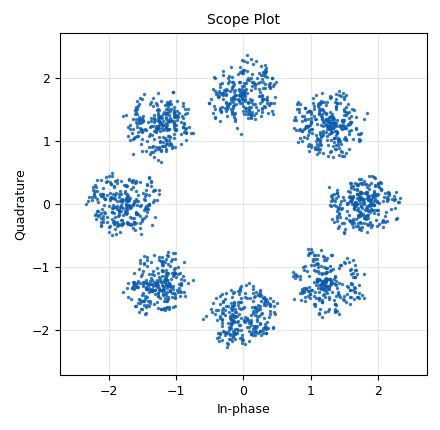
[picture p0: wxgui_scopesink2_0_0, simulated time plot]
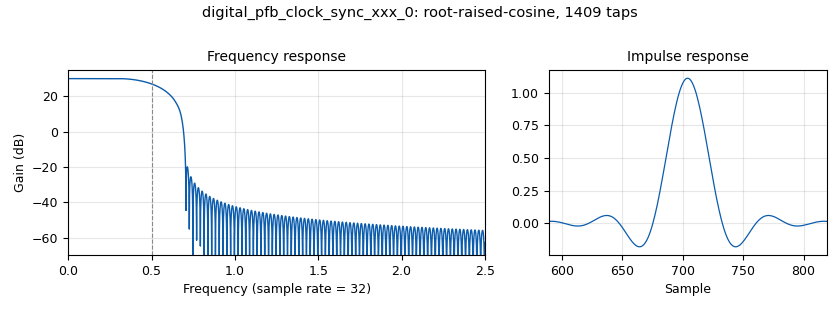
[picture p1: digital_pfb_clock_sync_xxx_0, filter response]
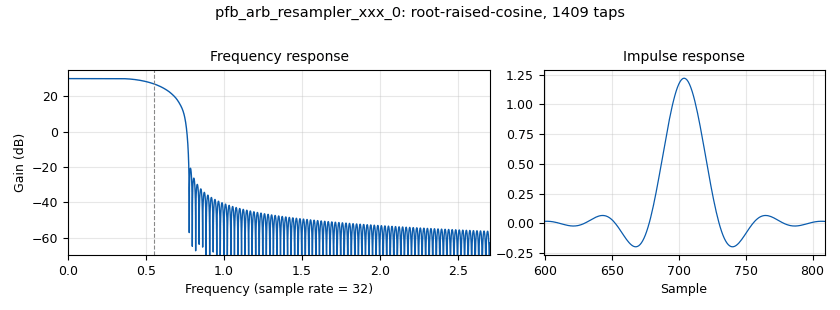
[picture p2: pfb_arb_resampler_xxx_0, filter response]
<?xml version='1.0' encoding='utf-8'?>
<?grc format='1' created='3.7.13'?>
<flow_graph>
<block>
<key>options</key>
<param><key>id</key><value>top_block</value></param>
<param><key>generate_options</key><value>wx_gui</value></param>
</block>
<block>
<key>variable_slider</key>
<param><key>id</key><value>b1</value></param>
<param><key>converver</key><value>float_converter</value></param>
<param><key>value</key><value>0</value></param>
<param><key>_enabled</key><value>0</value></param>
<param><key>label</key><value>b1</value></param>
<param><key>max</key><value>1</value></param>
<param><key>min</key><value>-1</value></param>
<param><key>num_steps</key><value>100</value></param>
<param><key>style</key><value>wx.SL_HORIZONTAL</value></param>
</block>
<block>
<key>variable_slider</key>
<param><key>id</key><value>b2</value></param>
<param><key>converver</key><value>float_converter</value></param>
<param><key>value</key><value>0</value></param>
<param><key>_enabled</key><value>0</value></param>
<param><key>label</key><value>b2</value></param>
<param><key>max</key><value>1</value></param>
<param><key>min</key><value>-1</value></param>
<param><key>num_steps</key><value>100</value></param>
<param><key>style</key><value>wx.SL_HORIZONTAL</value></param>
</block>
<block>
<key>variable_slider</key>
<param><key>id</key><value>b3</value></param>
<param><key>converver</key><value>float_converter</value></param>
<param><key>value</key><value>0</value></param>
<param><key>_enabled</key><value>0</value></param>
<param><key>label</key><value>b3</value></param>
<param><key>max</key><value>1</value></param>
<param><key>min</key><value>-1</value></param>
<param><key>num_steps</key><value>100</value></param>
<param><key>style</key><value>wx.SL_HORIZONTAL</value></param>
</block>
<block>
<key>variable_slider</key>
<param><key>id</key><value>b4</value></param>
<param><key>converver</key><value>float_converter</value></param>
<param><key>value</key><value>0</value></param>
<param><key>_enabled</key><value>0</value></param>
<param><key>label</key><value>b4</value></param>
<param><key>max</key><value>1</value></param>
<param><key>min</key><value>-1</value></param>
<param><key>num_steps</key><value>100</value></param>
<param><key>style</key><value>wx.SL_HORIZONTAL</value></param>
</block>
<block>
<key>variable</key>
<param><key>id</key><value>const_points</value></param>
<param><key>value</key><value>4</value></param>
</block>
<block>
<key>variable</key>
<param><key>id</key><value>excess_bw</value></param>
<param><key>value</key><value>0.4</value></param>
</block>
<block>
<key>variable</key>
<param><key>id</key><value>fll_ntaps</value></param>
<param><key>value</key><value>55</value></param>
</block>
<block>
<key>variable</key>
<param><key>id</key><value>freq_bw</value></param>
<param><key>value</key><value>2*pi/100</value></param>
</block>
<block>
<key>variable_slider</key>
<param><key>id</key><value>gain_control</value></param>
<param><key>converver</key><value>float_converter</value></param>
<param><key>value</key><value>0</value></param>
<param><key>label</key><value>gain_control</value></param>
<param><key>max</key><value>1</value></param>
<param><key>min</key><value>-1</value></param>
<param><key>num_steps</key><value>100</value></param>
<param><key>style</key><value>wx.SL_HORIZONTAL</value></param>
</block>
<block>
<key>variable</key>
<param><key>id</key><value>nfilts</value></param>
<param><key>value</key><value>32</value></param>
</block>
<block>
<key>variable</key>
<param><key>id</key><value>ntaps</value></param>
<param><key>value</key><value>11*nfilts*sps</value></param>
</block>
<block>
<key>variable</key>
<param><key>id</key><value>rx_taps</value></param>
<param><key>value</key><value>firdes.root_raised_cosine(nfilts, nfilts, 1.0, excess_bw, ntaps)</value></param>
</block>
<block>
<key>variable</key>
<param><key>id</key><value>samp_rate</value></param>
<param><key>value</key><value>32000</value></param>
</block>
<block>
<key>variable</key>
<param><key>id</key><value>samp_rate_0</value></param>
<param><key>value</key><value>20000*sps</value></param>
</block>
<block>
<key>variable</key>
<param><key>id</key><value>sps</value></param>
<param><key>value</key><value>4</value></param>
</block>
<block>
<key>variable</key>
<param><key>id</key><value>timing_bw</value></param>
<param><key>value</key><value>2*pi/100</value></param>
</block>
<block>
<key>variable</key>
<param><key>id</key><value>tx_taps</value></param>
<param><key>value</key><value>firdes.root_raised_cosine(nfilts, nfilts, 1.1, 0.4, ntaps)</value></param>
</block>
<block>
<key>analog_const_source_x</key>
<param><key>id</key><value>analog_const_source_x_0</value></param>
<param><key>const</key><value>1</value></param>
<param><key>_enabled</key><value>0</value></param>
<param><key>type</key><value>float</value></param>
</block>
<block>
<key>analog_noise_source_x</key>
<param><key>id</key><value>analog_noise_source_x_0</value></param>
<param><key>amp</key><value>0.05</value></param>
<param><key>noise_type</key><value>analog.GR_GAUSSIAN</value></param>
<param><key>type</key><value>complex</value></param>
<param><key>seed</key><value>0</value></param>
</block>
<block>
<key>analog_random_source_x</key>
<param><key>id</key><value>analog_random_source_x_0</value></param>
<param><key>max</key><value>8</value></param>
<param><key>min</key><value>0</value></param>
<param><key>num_samps</key><value>1000</value></param>
<param><key>type</key><value>byte</value></param>
<param><key>repeat</key><value>True</value></param>
</block>
<block>
<key>blocks_abs_xx</key>
<param><key>id</key><value>blocks_abs_xx_0</value></param>
<param><key>_enabled</key><value>0</value></param>
<param><key>type</key><value>float</value></param>
</block>
<block>
<key>blocks_add_xx</key>
<param><key>id</key><value>blocks_add_xx_0</value></param>
<param><key>type</key><value>complex</value></param>
</block>
<block>
<key>blocks_add_xx</key>
<param><key>id</key><value>blocks_add_xx_1</value></param>
<param><key>type</key><value>complex</value></param>
</block>
<block>
<key>blocks_complex_to_mag_squared</key>
<param><key>id</key><value>blocks_complex_to_mag_squared_0</value></param>
<param><key>_enabled</key><value>0</value></param>
</block>
<block>
<key>blocks_delay</key>
<param><key>id</key><value>blocks_delay_0</value></param>
<param><key>delay</key><value>1</value></param>
<param><key>type</key><value>complex</value></param>
</block>
<block>
<key>blocks_multiply_const_vxx</key>
<param><key>id</key><value>blocks_multiply_const_vxx_0</value></param>
<param><key>const</key><value>0.5</value></param>
<param><key>type</key><value>complex</value></param>
</block>
<block>
<key>blocks_sub_xx</key>
<param><key>id</key><value>blocks_sub_xx_0</value></param>
<param><key>_enabled</key><value>0</value></param>
<param><key>type</key><value>float</value></param>
</block>
<block>
<key>blocks_throttle</key>
<param><key>id</key><value>blocks_throttle_0</value></param>
<param><key>_enabled</key><value>0</value></param>
<param><key>samples_per_second</key><value>samp_rate</value></param>
<param><key>type</key><value>float</value></param>
</block>
<block>
<key>blocks_throttle</key>
<param><key>id</key><value>blocks_throttle_0_0</value></param>
<param><key>samples_per_second</key><value>samp_rate</value></param>
<param><key>type</key><value>complex</value></param>
</block>
<block>
<key>digital_chunks_to_symbols_xx</key>
<param><key>id</key><value>digital_chunks_to_symbols_xx_0</value></param>
<param><key>dimension</key><value>1</value></param>
<param><key>in_type</key><value>byte</value></param>
<param><key>out_type</key><value>complex</value></param>
<param><key>symbol_table</key><value>[1, (1+1j)/sqrt(2), 1j, (-1+1j)/sqrt(2), -1, (-1-1j)/sqrt(2), -1j, (1-1j)/sqrt(2)]</value></param>
</block>
<block>
<key>digital_cma_equalizer_cc</key>
<param><key>id</key><value>digital_cma_equalizer_cc_0</value></param>
<param><key>_enabled</key><value>2</value></param>
<param><key>mu</key><value>gain_control</value></param>
<param><key>modulus</key><value>1</value></param>
<param><key>num_taps</key><value>4</value></param>
<param><key>sps</key><value>4</value></param>
</block>
<block>
<key>digital_pfb_clock_sync_xxx</key>
<param><key>id</key><value>digital_pfb_clock_sync_xxx_0</value></param>
<param><key>filter_size</key><value>nfilts</value></param>
<param><key>init_phase</key><value>16</value></param>
<param><key>loop_bw</key><value>timing_bw</value></param>
<param><key>max_dev</key><value>1.5</value></param>
<param><key>osps</key><value>1</value></param>
<param><key>sps</key><value>sps</value></param>
<param><key>taps</key><value>rx_taps</value></param>
<param><key>type</key><value>ccf</value></param>
</block>
<block>
<key>iir_filter_xxx</key>
<param><key>id</key><value>iir_filter_xxx_1</value></param>
<param><key>_enabled</key><value>0</value></param>
<param><key>fftaps</key><value>(0.001)</value></param>
<param><key>fbtaps</key><value>(1, 0.98)</value></param>
<param><key>type</key><value>ffd</value></param>
</block>
<block>
<key>import</key>
<param><key>id</key><value>import_0</value></param>
<param><key>import</key><value>from math import pi</value></param>
</block>
<block>
<key>import</key>
<param><key>id</key><value>import_1</value></param>
<param><key>import</key><value>from gnuradio import digital</value></param>
</block>
<block>
<key>import</key>
<param><key>id</key><value>import_2</value></param>
<param><key>import</key><value>from gnuradio import filter</value></param>
</block>
<block>
<key>import</key>
<param><key>id</key><value>import_3</value></param>
<param><key>import</key><value>from math import sqrt</value></param>
</block>
<block>
<key>pfb_arb_resampler_xxx</key>
<param><key>id</key><value>pfb_arb_resampler_xxx_0</value></param>
<param><key>nfilts</key><value>32</value></param>
<param><key>rrate</key><value>sps</value></param>
<param><key>atten</key><value>100</value></param>
<param><key>taps</key><value>tx_taps</value></param>
<param><key>type</key><value>ccf</value></param>
</block>
<block>
<key>wxgui_scopesink2</key>
<param><key>id</key><value>wxgui_scopesink2_0</value></param>
<param><key>ac_couple</key><value>False</value></param>
<param><key>_enabled</key><value>0</value></param>
<param><key>num_inputs</key><value>1</value></param>
<param><key>samp_rate</key><value>samp_rate</value></param>
<param><key>t_scale</key><value>0</value></param>
<param><key>title</key><value>Scope Plot</value></param>
<param><key>trig_mode</key><value>wxgui.TRIG_MODE_AUTO</value></param>
<param><key>type</key><value>float</value></param>
<param><key>v_offset</key><value>0</value></param>
<param><key>v_scale</key><value>0</value></param>
<param><key>xy_mode</key><value>False</value></param>
<param><key>y_axis_label</key><value>Counts</value></param>
</block>
<block>
<key>wxgui_scopesink2</key>
<param><key>id</key><value>wxgui_scopesink2_0_0</value></param>
<param><key>ac_couple</key><value>False</value></param>
<param><key>num_inputs</key><value>1</value></param>
<param><key>samp_rate</key><value>samp_rate</value></param>
<param><key>t_scale</key><value>0</value></param>
<param><key>title</key><value>Scope Plot</value></param>
<param><key>trig_mode</key><value>wxgui.TRIG_MODE_AUTO</value></param>
<param><key>type</key><value>complex</value></param>
<param><key>v_offset</key><value>0</value></param>
<param><key>v_scale</key><value>0</value></param>
<param><key>xy_mode</key><value>True</value></param>
<param><key>y_axis_label</key><value>Counts</value></param>
</block>
<connection><source_block_id>analog_const_source_x_0</source_block_id><sink_block_id>blocks_sub_xx_0</sink_block_id><source_key>0</source_key><sink_key>1</sink_key></connection>
<connection><source_block_id>analog_noise_source_x_0</source_block_id><sink_block_id>blocks_add_xx_1</sink_block_id><source_key>0</source_key><sink_key>1</sink_key></connection>
<connection><source_block_id>analog_random_source_x_0</source_block_id><sink_block_id>digital_chunks_to_symbols_xx_0</sink_block_id><source_key>0</source_key><sink_key>0</sink_key></connection>
<connection><source_block_id>blocks_abs_xx_0</source_block_id><sink_block_id>iir_filter_xxx_1</sink_block_id><source_key>0</source_key><sink_key>0</sink_key></connection>
<connection><source_block_id>blocks_add_xx_0</source_block_id><sink_block_id>digital_cma_equalizer_cc_0</sink_block_id><source_key>0</source_key><sink_key>0</sink_key></connection>
<connection><source_block_id>blocks_add_xx_1</source_block_id><sink_block_id>blocks_add_xx_0</sink_block_id><source_key>0</source_key><sink_key>0</sink_key></connection>
<connection><source_block_id>blocks_add_xx_1</source_block_id><sink_block_id>blocks_delay_0</sink_block_id><source_key>0</source_key><sink_key>0</sink_key></connection>
<connection><source_block_id>blocks_complex_to_mag_squared_0</source_block_id><sink_block_id>blocks_sub_xx_0</sink_block_id><source_key>0</source_key><sink_key>0</sink_key></connection>
<connection><source_block_id>blocks_delay_0</source_block_id><sink_block_id>blocks_multiply_const_vxx_0</sink_block_id><source_key>0</source_key><sink_key>0</sink_key></connection>
<connection><source_block_id>blocks_multiply_const_vxx_0</source_block_id><sink_block_id>blocks_add_xx_0</sink_block_id><source_key>0</source_key><sink_key>1</sink_key></connection>
<connection><source_block_id>blocks_sub_xx_0</source_block_id><sink_block_id>blocks_abs_xx_0</sink_block_id><source_key>0</source_key><sink_key>0</sink_key></connection>
<connection><source_block_id>blocks_throttle_0</source_block_id><sink_block_id>wxgui_scopesink2_0</sink_block_id><source_key>0</source_key><sink_key>0</sink_key></connection>
<connection><source_block_id>blocks_throttle_0_0</source_block_id><sink_block_id>digital_pfb_clock_sync_xxx_0</sink_block_id><source_key>0</source_key><sink_key>0</sink_key></connection>
<connection><source_block_id>digital_chunks_to_symbols_xx_0</source_block_id><sink_block_id>pfb_arb_resampler_xxx_0</sink_block_id><source_key>0</source_key><sink_key>0</sink_key></connection>
<connection><source_block_id>digital_cma_equalizer_cc_0</source_block_id><sink_block_id>blocks_complex_to_mag_squared_0</sink_block_id><source_key>0</source_key><sink_key>0</sink_key></connection>
<connection><source_block_id>digital_cma_equalizer_cc_0</source_block_id><sink_block_id>blocks_throttle_0_0</sink_block_id><source_key>0</source_key><sink_key>0</sink_key></connection>
<connection><source_block_id>digital_pfb_clock_sync_xxx_0</source_block_id><sink_block_id>wxgui_scopesink2_0_0</sink_block_id><source_key>0</source_key><sink_key>0</sink_key></connection>
<connection><source_block_id>iir_filter_xxx_1</source_block_id><sink_block_id>blocks_throttle_0</sink_block_id><source_key>0</source_key><sink_key>0</sink_key></connection>
<connection><source_block_id>pfb_arb_resampler_xxx_0</source_block_id><sink_block_id>blocks_add_xx_1</sink_block_id><source_key>0</source_key><sink_key>0</sink_key></connection>
</flow_graph>
